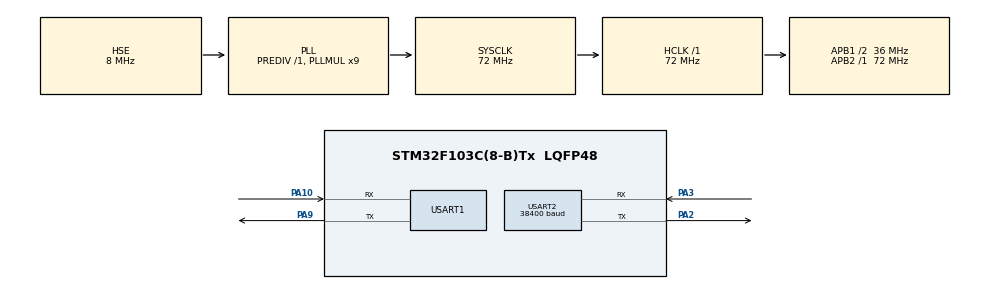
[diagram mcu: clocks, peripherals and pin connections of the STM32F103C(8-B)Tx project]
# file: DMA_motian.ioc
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Dma.Request0=USART2_RX
Dma.Request1=USART2_TX
Dma.USART2_RX.0.Direction=DMA_PERIPH_TO_MEMORY
Dma.USART2_RX.0.Instance=DMA1_Channel6
Dma.USART2_RX.0.MemDataAlignment=DMA_MDATAALIGN_BYTE
Dma.USART2_RX.0.MemInc=DMA_MINC_ENABLE
Dma.USART2_RX.0.Mode=DMA_NORMAL
Dma.USART2_RX.0.PeriphDataAlignment=DMA_PDATAALIGN_BYTE
Dma.USART2_RX.0.PeriphInc=DMA_PINC_DISABLE
Dma.USART2_RX.0.Priority=DMA_PRIORITY_LOW
Dma.USART2_TX.1.Direction=DMA_MEMORY_TO_PERIPH
Dma.USART2_TX.1.Instance=DMA1_Channel7
Dma.USART2_TX.1.MemDataAlignment=DMA_MDATAALIGN_BYTE
Dma.USART2_TX.1.MemInc=DMA_MINC_ENABLE
Dma.USART2_TX.1.Mode=DMA_NORMAL
Dma.USART2_TX.1.PeriphDataAlignment=DMA_PDATAALIGN_BYTE
Dma.USART2_TX.1.PeriphInc=DMA_PINC_DISABLE
Dma.USART2_TX.1.Priority=DMA_PRIORITY_LOW
Mcu.Family=STM32F1
Mcu.Name=STM32F103C(8-B)Tx
Mcu.Package=LQFP48
NVIC.DMA1_Channel6_IRQn=true\:1\:1\:true\:false\:true\:false\:true\:true
NVIC.DMA1_Channel7_IRQn=true\:1\:0\:true\:false\:true\:false\:true\:true
NVIC.PriorityGroup=NVIC_PRIORITYGROUP_2
NVIC.TIM2_IRQn=true\:3\:2\:true\:false\:true\:true\:true\:true
NVIC.USART1_IRQn=true\:1\:2\:true\:false\:true\:true\:true\:true
NVIC.USART2_IRQn=true\:1\:3\:true\:false\:true\:true\:true\:true
PA10.Mode=Asynchronous
PA10.Signal=USART1_RX
PA2.Mode=Asynchronous
PA2.Signal=USART2_TX
PA3.Mode=Asynchronous
PA3.Signal=USART2_RX
PA9.Mode=Asynchronous
PA9.Signal=USART1_TX
PD0-OSC_IN.Mode=HSE-External-Oscillator
PD0-OSC_IN.Signal=RCC_OSC_IN
PD1-OSC_OUT.Mode=HSE-External-Oscillator
PD1-OSC_OUT.Signal=RCC_OSC_OUT
ProjectManager.HeapSize=0x200
ProjectManager.StackSize=0x400
ProjectManager.TargetToolchain=MDK-ARM V5.32
RCC.AHBFreq_Value=72000000
RCC.APB1CLKDivider=RCC_HCLK_DIV2
RCC.APB1Freq_Value=36000000
RCC.APB1TimFreq_Value=72000000
RCC.APB2Freq_Value=72000000
RCC.APB2TimFreq_Value=72000000
RCC.HCLKFreq_Value=72000000
RCC.PLLMUL=RCC_PLL_MUL9
RCC.PLLSourceVirtual=RCC_PLLSOURCE_HSE
RCC.SYSCLKFreq_VALUE=72000000
RCC.SYSCLKSource=RCC_SYSCLKSOURCE_PLLCLK
RCC.USBFreq_Value=72000000
TIM2.Period=9999
TIM2.Prescaler=7199
USART1.VirtualMode=VM_ASYNC
USART2.BaudRate=38400
USART2.VirtualMode=VM_ASYNC
VP_SYS_VS_ND.Mode=No_Debug
VP_TIM2_VS_ClockSourceINT.Mode=Internal
board=custom

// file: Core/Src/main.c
/* USER CODE BEGIN Header */
/**
 ******************************************************************************
 * @file           : main.c
 * @brief          : Main program body
 ******************************************************************************
 * @attention
 *
 * Copyright (c) 2023 STMicroelectronics.
 * All rights reserved.
 *
 * This software is licensed under terms that can be found in the LICENSE file
 * in the root directory of this software component.
 * If no LICENSE file comes with this software, it is provided AS-IS.
 *
 ******************************************************************************
 */
/* USER CODE END Header */
#include "main.h"
#include "dma.h"
#include "tim.h"
#include "usart.h"
#include "gpio.h"

/* USER CODE BEGIN Includes */
#include <stdio.h>
#include <string.h>
/* USER CODE END Includes */

/* USER CODE BEGIN PV */
unsigned int SystemTimer = 0;

#define RXBUFFERSIZE 256     //
char RxBuffer[RXBUFFERSIZE]; //
uint8_t aRxBuffer;           //
uint8_t Uart1_Rx_Cnt = 0;    //

#define USART3_MAX_RECV_LEN 256
char USART3_RX_BUF[USART3_MAX_RECV_LEN];
uint8_t Uart2_aRxBuffer;

#define lenth      0xF

#define R_NUM      20                        // 接收缓冲区个数
#define RBUFF_UNIT 300                      // 接收缓冲区长度
unsigned char MQTT_RxDataBuf[R_NUM][lenth]; // 数据的接收缓冲区,所有服务器发来的数据，存放在该缓冲区,缓冲区第一个字节存放数据长度
unsigned char *MQTT_RxDataInPtr;            // 指向接收缓冲区存放数据的位置
unsigned char *MQTT_RxDataOutPtr;           // 指向接收缓冲区读取数据的位置
unsigned char *MQTT_RxDataEndPtr;           // 指向接收缓冲区结束的位置

char fina_data1[5];
char fina_data2[5];
int finaldata1;
int finaldata2;
/* USER CODE END PV */

void SystemClock_Config(void);

int main(void)
{

    /* MCU Configuration--------------------------------------------------------*/

    /* Reset of all peripherals, Initializes the Flash interface and the Systick. */
    HAL_Init();

    /* Configure the system clock */
    SystemClock_Config();

    /* Initialize all configured peripherals */
    MX_GPIO_Init();
    MX_DMA_Init();
    MX_TIM2_Init();
    MX_USART1_UART_Init();
    MX_USART2_UART_Init();
    /* USER CODE BEGIN 2 */
    HAL_TIM_Base_Start_IT(&htim2);

    static uint8_t seri_count = 0;
    char check_flag, end_flag, j, k = 0;
    uint8_t x;

    HAL_Delay(200);

    MQTT_RxDataInPtr  = MQTT_RxDataBuf[0];         // 指向发送缓冲区存放数据的指针归位
    MQTT_RxDataOutPtr = MQTT_RxDataInPtr;          // 指向发送缓冲区读取数据的指针归位
    MQTT_RxDataEndPtr = MQTT_RxDataBuf[R_NUM - 1]; // 指向发送缓冲区结束的指针归位

    printf("I-n=0x%x", MQTT_RxDataInPtr);

    HAL_UART_Transmit_DMA(&huart2, (uint8_t *)"iACM", 3);
    HAL_Delay(200);
    HAL_UART_Receive_DMA(&huart2, (uint8_t *)USART3_RX_BUF, lenth);
    // static uint8_t uflag = 0;
    /* USER CODE END 2 */

    /* Infinite loop */
    while (1) {

        /* USER CODE BEGIN 3 */
        printf("I n=0x%x\r\n", MQTT_RxDataInPtr);
        printf("Out=0x%x\r\n", MQTT_RxDataOutPtr);
        if (MQTT_RxDataInPtr != MQTT_RxDataOutPtr) {
            /* code */
            printf("数据解析\r\n");

            MQTT_RxDataOutPtr += lenth; // 接收指针下移

            for (size_t i = 0; i < lenth; i++) {
                /* code */
                printf("%x ", MQTT_RxDataOutPtr[i]);
            }

            if (MQTT_RxDataOutPtr == MQTT_RxDataEndPtr) // 如果接收指针到接收缓冲区尾部了
                MQTT_RxDataOutPtr = MQTT_RxDataBuf[0];  // 接收指针归位到接收缓冲区开头
        }
    }
    /* USER CODE END 3 */
}

void SystemClock_Config(void)
{
    RCC_OscInitTypeDef RCC_OscInitStruct = {0};
    RCC_ClkInitTypeDef RCC_ClkInitStruct = {0};

    /** Initializes the RCC Oscillators according to the specified parameters
     * in the RCC_OscInitTypeDef structure.
     */
    RCC_OscInitStruct.OscillatorType = RCC_OSCILLATORTYPE_HSE;
    RCC_OscInitStruct.HSEState       = RCC_HSE_ON;
    RCC_OscInitStruct.HSEPredivValue = RCC_HSE_PREDIV_DIV1;
    RCC_OscInitStruct.HSIState       = RCC_HSI_ON;
    RCC_OscInitStruct.PLL.PLLState   = RCC_PLL_ON;
    RCC_OscInitStruct.PLL.PLLSource  = RCC_PLLSOURCE_HSE;
    RCC_OscInitStruct.PLL.PLLMUL     = RCC_PLL_MUL9;
    if (HAL_RCC_OscConfig(&RCC_OscInitStruct) != HAL_OK) {
        Error_Handler();
    }

    /** Initializes the CPU, AHB and APB buses clocks
     */
    RCC_ClkInitStruct.ClockType      = RCC_CLOCKTYPE_HCLK | RCC_CLOCKTYPE_SYSCLK | RCC_CLOCKTYPE_PCLK1 | RCC_CLOCKTYPE_PCLK2;
    RCC_ClkInitStruct.SYSCLKSource   = RCC_SYSCLKSOURCE_PLLCLK;
    RCC_ClkInitStruct.AHBCLKDivider  = RCC_SYSCLK_DIV1;
    RCC_ClkInitStruct.APB1CLKDivider = RCC_HCLK_DIV2;
    RCC_ClkInitStruct.APB2CLKDivider = RCC_HCLK_DIV1;

    if (HAL_RCC_ClockConfig(&RCC_ClkInitStruct, FLASH_LATENCY_2) != HAL_OK) {
        Error_Handler();
    }
}

/* USER CODE BEGIN 4 */
/**
 * 函数功能: 重定向c库函数printf到DEBUG_USARTx
 * 输入参数: 无
 * 返 回 值: 无
 * 说    明：无
 */
int fputc(int ch, FILE *f)
{
    HAL_UART_Transmit(&huart1, (uint8_t *)&ch, 1, 0xffff);
    return ch;
}
/**
 * 函数功能: 重定向c库函数getchar,scanf到DEBUG_USARTx
 * 输入参数: 无
 * 返 回 值: 无
 * 说    明：无
 */
int fgetc(FILE *f)
{
    uint8_t ch = 0;
    HAL_UART_Receive(&huart1, &ch, 1, 0xffff);
    return ch;
}
void HAL_TIM_PeriodElapsedCallback(TIM_HandleTypeDef *htim)
{
    if (htim == (&htim2)) {
        SystemTimer++;
        printf("SystemTimer=%d\r\n", SystemTimer);
        if (SystemTimer >= 121) {
            /* code */
            SystemTimer = 0;
            // OpenTimer   = 0;
        }
        // HAL_UART_Transmit_DMA(&huart2, (uint8_t *)"iSM", 3);
    }
}
void HAL_UART_RxCpltCallback(UART_HandleTypeDef *huart)
{
    // static uint8_t seri_count = 0;
    // char check_flag, end_flag, j, k = 0;
    // uint8_t x;
    // static uint8_t uflag = 0;
    /* Prevent unused argument(s) compilation warning */
    // UNUSED(huart);
    /* NOTE: This function Should not be modified, when the callback is needed,
             the HAL_UART_TxCpltCallback could be implemented in the user file
     */
    if (huart->Instance == USART1) {
        char a[] = "distance_saze";
        if (Uart1_Rx_Cnt >= 255) // 溢出判断
        {
            Uart1_Rx_Cnt = 0;
            memset(RxBuffer, 0x00, sizeof(RxBuffer));
            HAL_UART_Transmit(&huart1, (uint8_t *)a, strlen(a), 0xFFFF);
        } else {
            RxBuffer[Uart1_Rx_Cnt++] = aRxBuffer;

            if ((RxBuffer[Uart1_Rx_Cnt - 1] == 0x0A) && (RxBuffer[Uart1_Rx_Cnt - 2] == 0x0D)) // 判断结束?????????
            {
                HAL_UART_Transmit(&huart1, (uint8_t *)&RxBuffer, Uart1_Rx_Cnt, 0xFFFF); // 将收到的信息发???出?????????
                while (HAL_UART_GetState(&huart1) == HAL_UART_STATE_BUSY_TX)
                    ;
                Uart1_Rx_Cnt = 0;
                memset(RxBuffer, 0x00, sizeof(RxBuffer)); // 清空数组
            }
        }
        HAL_UART_Receive_IT(&huart1, (uint8_t *)&aRxBuffer, 1); // 再开?????????接收??????????????????
    }
    if (huart->Instance == USART2) {
        /* code */
        // if (Uart2_aRxBuffer == 0x44) {
        //     uflag = 1;
        //     // HAL_UART_Transmit(&huart1, (uint8_t *)"step1", 6, 0xFFFF);
        // }
        // if (uflag) {
        //     USART3_RX_BUF[seri_count++] = Uart2_aRxBuffer;
        //     // HAL_UART_Transmit(&huart1, (uint8_t *)"step2", 6, 0xFFFF);
        //     if (Uart2_aRxBuffer == 0x0A) {
        //         for (size_t i = 0; i < seri_count; i++) {
        //             /* code */
        //             // printf("%x ", USART3_RX_BUF[i]);
        //             // HAL_UART_Transmit(&huart1, (uint8_t *)&USART3_RX_BUF[i], 1, 0xFFFF);
        //             // HAL_UART_Transmit(&huart1, (uint8_t *)"step3\r\n", 8, 0xFFFF);
        //             switch (USART3_RX_BUF[i]) {
        //                 case 0x6D:
        //                     check_flag = i;
        //                     // u1_printf("0x6D在第%d???", check_flag);
        //                     // HAL_UART_Transmit(&huart1, (uint8_t *)check_flag, 1, 0xFFFF);
        //                     break;
        //                 case 0x23:
        //                     end_flag = i;
        //                     // u1_printf("0x0D在第%d???", end_flag);
        //                     // HAL_UART_Transmit(&huart1, (uint8_t *)end_flag, 1, 0xFFFF);
        //                     break;
        //                 default:
        //                     break;
        //             }
        //         }

        //         for (size_t i = 2; i < check_flag; i++) {

        //             if (USART3_RX_BUF[i] == 0x2E) {
        //                 continue;
        //             }
        //             fina_data1[j++] = USART3_RX_BUF[i];
        //         }
        //         for (size_t a = check_flag + 1; a < end_flag; a++) {

        //             if (USART3_RX_BUF[a] == 0x2C) {
        //                 continue;
        //             }
        //             fina_data2[k++] = USART3_RX_BUF[a];
        //         }

        //         sscanf(fina_data1, "%d", &finaldata1); // 字符串转int
        //         sscanf(fina_data2, "%d", &finaldata2); // 字符串转int

        //         printf("距离=%dmm,回光=%d\r\n", finaldata1, finaldata2); // print用串???2，串???1用来和激光模块???讯
        //         for (x = 0; x < j; x++) {
        //             fina_data1[x] = 0;
        //             fina_data2[x] = 0;
        //         }
        //         uflag      = 0;
        //         seri_count = 0;
        //         j          = 0;
        //         k          = 0;
        //     }
        // }
        // HAL_UART_Receive_IT(&huart2, (uint8_t *)&Uart2_aRxBuffer, 1);
        for (size_t i = 0; i < lenth; i++) {
            /* code */
            printf("%c", USART3_RX_BUF[i]);
        }
        memcpy(MQTT_RxDataInPtr, USART3_RX_BUF, lenth);
        MQTT_RxDataInPtr += lenth; // 指针下移

        if (MQTT_RxDataInPtr == MQTT_RxDataEndPtr) // 如果指针到缓冲区尾部了
            MQTT_RxDataInPtr = MQTT_RxDataBuf[0];  // 指针归位到缓冲区开头                                                 // 串口3接收数据量变量清零
        HAL_UART_Receive_DMA(&huart2, (uint8_t *)USART3_RX_BUF, lenth);
    }
}
/* USER CODE END 4 */

void Error_Handler(void)
{
    __disable_irq();
    while (1) {
    }
}
